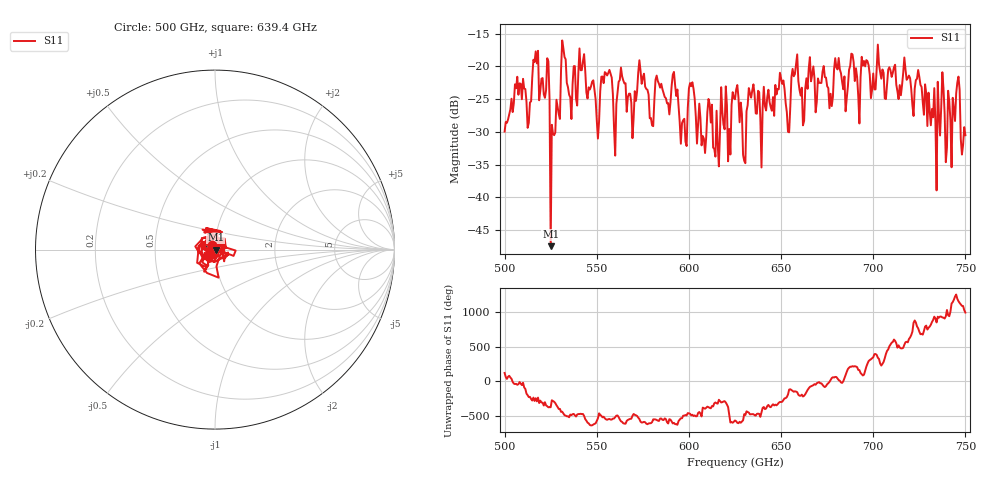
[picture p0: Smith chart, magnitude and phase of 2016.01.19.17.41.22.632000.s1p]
!Created with skrf (http://scikit-rf.org).
# GHz S RI R 50.0
!freq ReS11 ImS11
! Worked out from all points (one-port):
!   401 points, 500 GHz to 750 GHz, reference 50 ohm
!   lowest |S11| = -47.5 dB at 525 GHz (marker M1), VSWR 1.01, Z = 50.4 - j0.126 ohm
!   |S11| at or under -10 dB: start of sweep to end of sweep
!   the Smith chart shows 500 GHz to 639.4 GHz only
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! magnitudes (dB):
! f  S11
! 500 GHz  -30.0
! 506.9 GHz  -21.6
! 513.1 GHz  -28.6
! 516.9 GHz  -17.7
! 523.1 GHz  -18.8
! 525 GHz  -47.5
! 526.2 GHz  -30.3
! 531.2 GHz  -16.1
! 535.6 GHz  -24.7
! 541.9 GHz  -20.6
! 550.6 GHz  -31.0
! 562.5 GHz  -22.1
! 593.8 GHz  -23.5
! 597.5 GHz  -28.0
! 601.2 GHz  -23.0
! 615 GHz  -26.8
! 625 GHz  -25.0
! 630 GHz  -34.4
! 633.8 GHz  -24.8
! 640 GHz  -26.3
! 650.6 GHz  -22.7
! 653.8 GHz  -30.0
! 656.2 GHz  -20.4
! 687.5 GHz  -19.9
! 718.8 GHz  -21.8
! 735 GHz  -22.4
! 745.6 GHz  -22.5
! 750 GHz  -30.5
